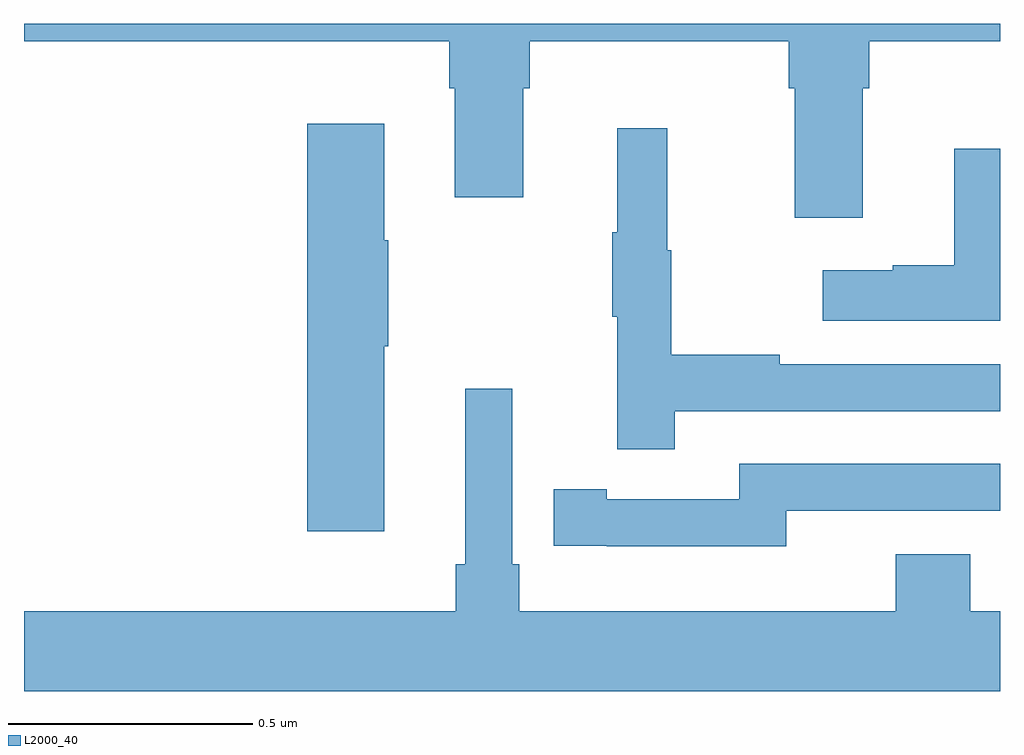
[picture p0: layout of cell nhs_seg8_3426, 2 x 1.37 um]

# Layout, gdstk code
import gdstk
lib = gdstk.Library(unit=1e-6, precision=1e-09)
def P(c, l, *ps):  # polygons
    for p in ps: c.add(gdstk.Polygon(p, *l))
L2000_40 = (2000, 40)

nhs_seg8_3426 = lib.new_cell('nhs_seg8_3426')
P(nhs_seg8_3426, L2000_40, [(158.719,1085.768),(158.732,1085.768),(158.732,1085.864),(159,1085.864),(159,1085.9),(157,1085.9),(157,1085.864),(157.871,1085.864),(157.871,1085.768),(157.883,1085.768),(157.883,1085.544),(158.023,1085.544),(158.023,1085.768),(158.036,1085.768),(158.036,1085.864),(158.567,1085.864),(158.567,1085.768),(158.579,1085.768),(158.579,1085.502),(158.719,1085.502)],
  [(157.738,1085.239),(157.746,1085.239),(157.746,1085.456),(157.738,1085.456),(157.738,1085.695),(157.58,1085.695),(157.58,1084.86),(157.738,1084.86)],
  [(158.333,1085.106),(159,1085.106),(159,1085.202),(158.549,1085.202),(158.549,1085.222),(158.326,1085.222),(158.326,1085.436),(158.318,1085.436),(158.318,1085.686),(158.216,1085.686),(158.216,1085.473),(158.205,1085.473),(158.205,1085.299),(158.216,1085.299),(158.216,1085.028),(158.333,1085.028)],
  [(159,1085.644),(158.906,1085.644),(158.906,1085.405),(158.78,1085.405),(158.78,1085.395),(158.637,1085.395),(158.637,1085.291),(159,1085.291)],
  [(159,1084.696),(158.939,1084.696),(158.939,1084.813),(158.786,1084.813),(158.786,1084.696),(158.015,1084.696),(158.015,1084.792),(158.001,1084.792),(158.001,1085.152),(157.904,1085.152),(157.904,1084.792),(157.885,1084.792),(157.885,1084.696),(157,1084.696),(157,1084.532),(159,1084.532)],
  [(158.562,1084.902),(159,1084.902),(159,1084.998),(158.466,1084.998),(158.466,1084.926),(158.194,1084.926),(158.194,1084.946),(158.086,1084.946),(158.086,1084.83),(158.194,1084.83),(158.194,1084.829),(158.562,1084.829)])

lib.write_gds('nhs_seg8_3426.gds')
